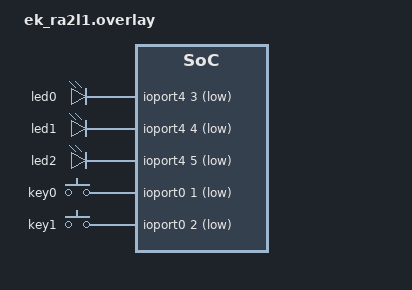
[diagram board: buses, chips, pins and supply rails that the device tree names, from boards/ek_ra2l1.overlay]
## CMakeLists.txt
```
cmake_minimum_required(VERSION 3.20.0)

if(DEFINED BOARD)
    # 使用命令行指定的 BOARD
elseif(EXISTS "${CMAKE_CURRENT_SOURCE_DIR}/boards/stm32f4_disco.overlay")
    set(BOARD stm32f4_disco)
else()
    set(BOARD ek_ra2l1)
endif()

if(BOARD STREQUAL "ek_ra2l1")
    set(BOARD_FLASH_RUNNER pyocd)
    set(BOARD_DEBUG_RUNNER pyocd)
    set(BOARD_RUNNER_ARGS_pyocd "--frequency=1000000")
elseif(BOARD STREQUAL "stm32f4_disco")
    set(BOARD_FLASH_RUNNER openocd)
    set(BOARD_DEBUG_RUNNER openocd)
    set(BOARD_RUNNER_ARGS_openocd "--config=${CMAKE_CURRENT_SOURCE_DIR}/config/openocd_dap.cfg" "--cmd-post-verify=reset run")
endif()
find_package(Zephyr REQUIRED HINTS $ENV{ZEPHYR_BASE})
project(blinky)

# 源文件目录列表（在此添加新的源文件目录，会自动递归搜索 .c 文件）
set(APP_SOURCE_DIRS
    apps
    communication
    src
    thread
    # src/xxx
)

# 头文件目录列表（在此添加新的头文件目录，会自动递归搜索子目录）
set(APP_INCLUDE_DIRS
    apps
    communication
    src
    thread
    topic
    include
    # src/xxx
)

foreach(dir ${APP_SOURCE_DIRS})
    file(GLOB_RECURSE DIR_SOURCES ${dir}/*.c ${dir}/*.cpp)
    list(APPEND APP_SOURCES ${DIR_SOURCES})
endforeach()

# 递归搜索头文件子目录
set(ALL_INCLUDE_DIRS)
foreach(dir ${APP_INCLUDE_DIRS})
    if(IS_DIRECTORY ${CMAKE_CURRENT_SOURCE_DIR}/${dir})
        list(APPEND ALL_INCLUDE_DIRS ${CMAKE_CURRENT_SOURCE_DIR}/${dir})
        file(GLOB_RECURSE HEADERS ${CMAKE_CURRENT_SOURCE_DIR}/${dir}/*.h ${CMAKE_CURRENT_SOURCE_DIR}/${dir}/*.hpp)
        foreach(header ${HEADERS})
            get_filename_component(header_dir ${header} DIRECTORY)
            list(APPEND ALL_INCLUDE_DIRS ${header_dir})
        endforeach()
    endif()
endforeach()
list(REMOVE_DUPLICATES ALL_INCLUDE_DIRS)

target_sources(app PRIVATE ${APP_SOURCES})
target_include_directories(app PRIVATE ${ALL_INCLUDE_DIRS})

# bsp/ 和 modules/ 通过 mod_init.py 从 Zephyr_Components 仓库拉取
if(EXISTS ${CMAKE_CURRENT_SOURCE_DIR}/bsp)
  add_subdirectory(bsp)
endif()
if(EXISTS ${CMAKE_CURRENT_SOURCE_DIR}/modules)
  add_subdirectory(modules)
endif()
if(EXISTS ${CMAKE_CURRENT_SOURCE_DIR}/controller)
  add_subdirectory(controller)
endif()

# 自动链接所有扫描到的 bsp、模块和控制器
foreach(bsp ${BSP_TARGETS})
  target_link_libraries(app PRIVATE ${bsp})
endforeach()
foreach(mod ${MODULE_TARGETS})
  target_link_libraries(app PRIVATE ${mod})
endforeach()
foreach(ctrl ${CONTROLLER_TARGETS})
  target_link_libraries(app PRIVATE ${ctrl})
endforeach()
```

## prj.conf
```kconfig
CONFIG_CPP=y
CONFIG_STD_CPP17=y
CONFIG_REQUIRES_FULL_LIBCPP=y
CONFIG_ZBUS=y
CONFIG_SERIAL=y
CONFIG_UART_ASYNC_API=y
CONFIG_CONSOLE=y
CONFIG_UART_INTERRUPT_DRIVEN=y
```

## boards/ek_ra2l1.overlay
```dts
// EK-RA2L1 设备树 overlay
// ioport 编号对应: ioport0=P0xx, ioport1=P1xx, ..., ioport5=P5xx

#include <zephyr/dt-bindings/gpio/gpio.h>

/ {
	/delete-node/ leds;

	leds {
		compatible = "gpio-leds";
		led0: led_0 {
			gpios = <&ioport4 3 (GPIO_ACTIVE_LOW | GPIO_PULL_UP)>;
		};
		led1: led_1 {
			gpios = <&ioport4 4 (GPIO_ACTIVE_LOW | GPIO_PULL_UP)>;
		};
		led2: led_2 {
			gpios = <&ioport4 5 (GPIO_ACTIVE_LOW | GPIO_PULL_UP)>;
		};
	};
};

/ {
	keys {
		compatible = "gpio-keys";
		key0: key_0 {
			gpios = <&ioport0 1 (GPIO_ACTIVE_LOW | GPIO_PULL_UP)>;
		};
		key1: key_1 {
			gpios = <&ioport0 2 (GPIO_ACTIVE_LOW | GPIO_PULL_UP)>;
		};
	};
};
```

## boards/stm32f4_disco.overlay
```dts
// STM32F4 Discovery 设备树 overlay

#include <zephyr/dt-bindings/gpio/gpio.h>
#include <zephyr/dt-bindings/pwm/pwm.h>
#include <zephyr/dt-bindings/dma/stm32_dma.h>

/ {
	chosen {
		zephyr,console = &usart2;
		zephyr,shell-uart = &usart2;
	};
};

/ {
	leds {
		compatible = "gpio-leds";
		led0: led_0 {
			gpios = <&gpiof 9 (GPIO_ACTIVE_LOW | GPIO_PULL_UP)>;
		};
		led1: led_1 {
			gpios = <&gpiof 10 (GPIO_ACTIVE_LOW | GPIO_PULL_UP)>;
		};
	};
};

/ {
	keys {
		compatible = "gpio-keys";
		key0: key_0 {
			gpios = <&gpioe 4 (GPIO_ACTIVE_LOW | GPIO_PULL_UP)>;
		};
	};
};

/* ===== PWM 配置 =====
 * TIM4, CH1=PD12 (50Hz, 舵机)
 */
/ {
	pwm_servo: pwm_servo {
		compatible = "pwm-leds";
		servo: servo {
			pwms = <&pwm4 1 20000000 PWM_POLARITY_NORMAL>;
		};
	};
};

&timers4 {
	status = "okay";
	st,prescaler = <83>;  /* 84MHz / (83+1) = 1MHz, 1us per tick */

	pwm4: pwm {
		status = "okay";
		pinctrl-0 = <&tim4_ch1_pd12>;
		pinctrl-names = "default";
	};
};

/* ===== UART1 配置 =====
 * USART1, TX=PA9, RX=PA10, 115200 baud, DMA 接收
 */
&usart1 {
	pinctrl-0 = <&usart1_tx_pa9 &usart1_rx_pa10>;
	pinctrl-names = "default";
	current-speed = <115200>;
	status = "okay";

	dmas = <&dma2 7 4 (STM32_DMA_PERIPH_TX | STM32_DMA_PRIORITY_HIGH) STM32_DMA_FIFO_FULL>,
	       <&dma2 2 4 (STM32_DMA_PERIPH_RX | STM32_DMA_PRIORITY_HIGH) STM32_DMA_FIFO_FULL>;
	dma-names = "tx", "rx";
};

&dma2 {
	status = "okay";
};

/* ===== Console =====
 * USART2, TX=PA2, RX=PA3
 */
&usart2 {
	pinctrl-0 = <&usart2_tx_pa2 &usart2_rx_pa3>;
	pinctrl-names = "default";
	current-speed = <115200>;
	status = "okay";
};
```

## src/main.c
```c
/**
 * @file main.c
 * @author qingyu
 * @brief 
 * @version 0.1
 * @date 2026-04-07
 * 
 * @copyright Copyright (c) 2026
 * 
 */

#include <zephyr/kernel.h>
#include "Init.h"

int main(void)
{
	Init();

	while (1) 
	{
		k_msleep(1000);
	}
}
```
